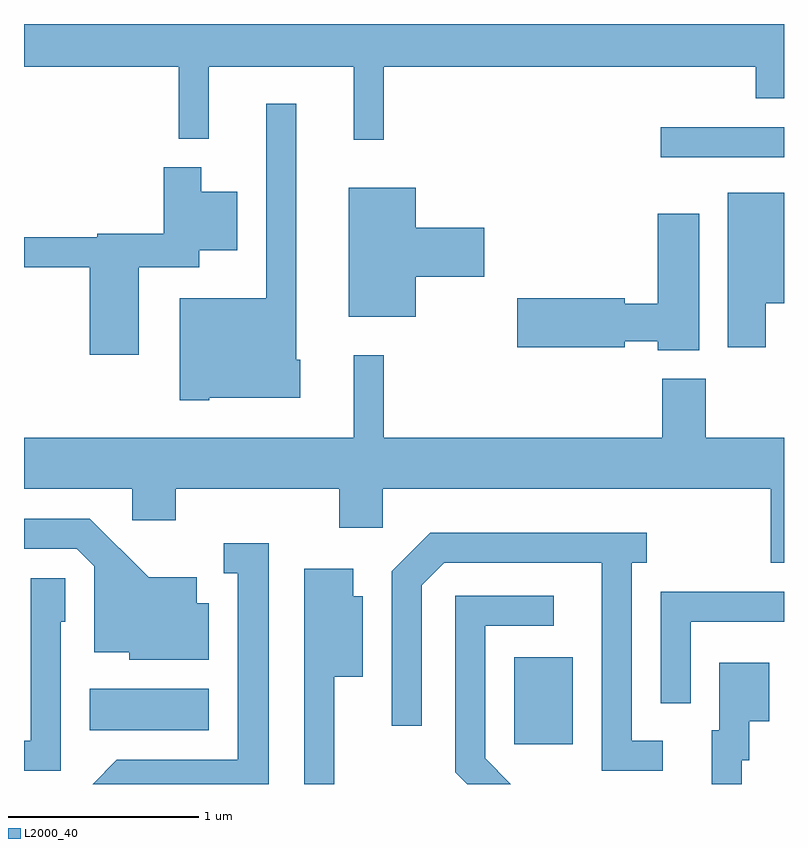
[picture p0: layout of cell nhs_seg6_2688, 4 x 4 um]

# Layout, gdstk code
import gdstk
lib = gdstk.Library(unit=1e-6, precision=1e-09)
def R(c, l, rs):  # rectangles x0, y0, x1, y1
    for r in rs: c.add(gdstk.rectangle(r[:2], r[2:], *l))
def P(c, l, *ps):  # polygons
    for p in ps: c.add(gdstk.Polygon(p, *l))
L2000_40 = (2000, 40)

nhs_seg6_2688 = lib.new_cell('nhs_seg6_2688')
R(nhs_seg6_2688, L2000_40, [(268.191,1646.371,268.499,1646.829), (265.956,1646.446,266.584,1646.664), (268.963,1649.461,269.611,1649.619)])
P(nhs_seg6_2688, L2000_40, [(267.504,1649.936),(269.461,1649.936),(269.461,1649.771),(269.611,1649.771),(269.611,1650.162),(265.611,1650.162),(265.611,1649.936),(266.426,1649.936),(266.426,1649.558),(266.584,1649.558),(266.584,1649.936),(267.346,1649.936),(267.346,1649.553),(267.504,1649.553)],
  [(266.585,1648.196),(267.064,1648.196),(267.064,1648.394),(267.044,1648.394),(267.044,1649.743),(266.886,1649.743),(266.886,1648.719),(266.431,1648.719),(266.431,1648.181),(266.585,1648.181)],
  [(266.214,1648.881),(266.534,1648.881),(266.534,1648.971),(266.734,1648.971),(266.734,1649.279),(266.544,1649.279),(266.544,1649.409),(266.346,1649.409),(266.346,1649.059),(265.996,1649.059),(265.996,1649.039),(265.611,1649.039),(265.611,1648.881),(265.956,1648.881),(265.956,1648.421),(266.214,1648.421)],
  [(267.674,1648.831),(268.034,1648.831),(268.034,1649.089),(267.674,1649.089),(267.674,1649.299),(267.321,1649.299),(267.321,1648.621),(267.674,1648.621)],
  [(269.514,1648.691),(269.611,1648.691),(269.611,1649.274),(269.316,1649.274),(269.316,1648.461),(269.514,1648.461)],
  [(269.164,1649.164),(268.946,1649.164),(268.946,1648.689),(268.774,1648.689),(268.774,1648.719),(268.206,1648.719),(268.206,1648.461),(268.774,1648.461),(268.774,1648.491),(268.946,1648.491),(268.946,1648.446),(269.164,1648.446)],
  [(269.611,1647.984),(269.199,1647.984),(269.199,1648.294),(268.971,1648.294),(268.971,1647.984),(267.504,1647.984),(267.504,1648.418),(267.346,1648.418),(267.346,1647.984),(265.611,1647.984),(265.611,1647.716),(266.181,1647.716),(266.181,1647.551),(266.409,1647.551),(266.409,1647.716),(267.271,1647.716),(267.271,1647.511),(267.499,1647.511),(267.499,1647.716),(269.541,1647.716),(269.541,1647.326),(269.611,1647.326)],
  [(266.584,1647.114),(266.519,1647.114),(266.519,1647.249),(266.267,1647.249),(265.957,1647.559),(265.611,1647.559),(265.611,1647.401),(265.889,1647.401),(265.981,1647.309),(265.981,1646.856),(266.166,1646.856),(266.166,1646.816),(266.584,1646.816)],
  [(268.973,1646.389),(268.809,1646.389),(268.809,1647.326),(268.888,1647.326),(268.888,1647.484),(267.749,1647.484),(267.546,1647.282),(267.546,1646.468),(267.704,1646.468),(267.704,1647.209),(267.822,1647.326),(268.651,1647.326),(268.651,1646.231),(268.973,1646.231)],
  [(266.899,1647.429),(266.663,1647.429),(266.663,1647.271),(266.736,1647.271),(266.736,1646.289),(266.099,1646.289),(265.972,1646.162),(266.899,1646.162)],
  [(267.244,1646.726),(267.394,1646.726),(267.394,1647.149),(267.344,1647.149),(267.344,1647.294),(267.086,1647.294),(267.086,1646.162),(267.244,1646.162)],
  [(265.804,1647.016),(265.829,1647.016),(265.829,1647.244),(265.646,1647.244),(265.646,1646.389),(265.611,1646.389),(265.611,1646.231),(265.804,1646.231)],
  [(269.119,1647.016),(269.611,1647.016),(269.611,1647.174),(268.961,1647.174),(268.961,1646.588),(269.119,1646.588)],
  [(268.039,1646.297),(268.039,1646.996),(268.398,1646.996),(268.398,1647.154),(267.881,1647.154),(267.881,1646.224),(267.943,1646.162),(268.174,1646.162)],
  [(269.389,1646.286),(269.429,1646.286),(269.429,1646.491),(269.534,1646.491),(269.534,1646.799),(269.271,1646.799),(269.271,1646.444),(269.231,1646.444),(269.231,1646.162),(269.389,1646.162)])

lib.write_gds('nhs_seg6_2688.gds')
